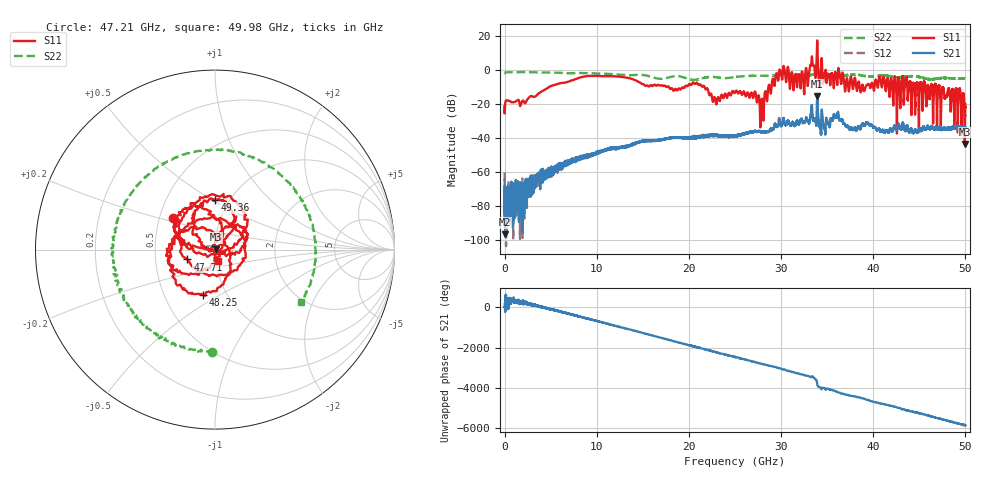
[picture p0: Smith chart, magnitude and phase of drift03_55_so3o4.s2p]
!Created with skrf (http://scikit-rf.org).
# Hz S RI R 50.0
!freq ReS11 ImS11 ReS21 ImS21 ReS12 ImS12 ReS22 ImS22
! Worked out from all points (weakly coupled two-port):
!   10001 points, 300 kHz to 50 GHz, reference 50 ohm
!   highest |S21| = -15.64 dB at 33.92 GHz (marker M1); lowest = -96.6 dB at 60.3 MHz (marker M2)
!   lowest |S11| = -43.5 dB at 49.94 GHz (marker M3), VSWR 1.01, Z = 50.6 + j0.21 ohm
!   |S11| at or under -10 dB: start of sweep to 4.85 GHz; 21.69 GHz to 28.62 GHz (6.933 GHz wide, 27.6 % of centre); 47.19 GHz to end of sweep (the widest 3 of 42)
!   |S22| runs from -5.9 to -1.3 dB; largest |S21 - S12| = 0.017
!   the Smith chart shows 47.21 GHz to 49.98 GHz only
!   S11 on the Smith chart (normalised r, x): 47.21 GHz: 0.59, +0.23; 47.71 GHz: 0.73, -0.08; 48.25 GHz: 0.77, -0.42; 49.36 GHz: 0.86, +0.52; 49.98 GHz: 1.03, -0.13
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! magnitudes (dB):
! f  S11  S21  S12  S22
! 300 kHz  -21.4  -64.7  -60.2  -2.0
! 60.3 MHz  -20.0  -96.6  -78.6  -1.6
! 1.94 GHz  -18.3  -68.9  -74.3  -1.3
! 8.335 GHz  -4.3  -51.7  -51.8  -1.9
! 16.67 GHz  -8.8  -41.2  -41.3  -5.2
! 21.01 GHz  -8.7  -39.2  -39.2  -5.5
! 22.81 GHz  -16.2  -38.3  -38.4  -4.2
! 25 GHz  -13.4  -38.7  -38.7  -4.3
! 27.92 GHz  -17.2  -36.2  -36.4  -3.5
! 29.69 GHz  -6.4  -32.0  -31.6  -3.1
! 32.32 GHz  -1.5  -30.4  -30.7  -3.2
! 33.34 GHz  7.8  -20.7  -20.9  -2.9
! 33.92 GHz  17.2  -15.6  -15.9  -2.4
! 38.82 GHz  -9.0  -31.5  -31.9  -3.4
! 41.67 GHz  -9.0  -36.6  -36.6  -3.6
! 47.21 GHz  -10.6  -33.7  -34.1  -4.9
! 47.71 GHz  -15.8  -34.4  -34.2  -4.8
! 48.25 GHz  -11.7  -34.4  -34.4  -5.0
! 49.36 GHz  -11.1  -33.9  -34.1  -5.1
! 49.94 GHz  -43.5  -33.8  -34.0  -5.0
! 49.98 GHz  -23.8  -34.0  -34.1  -5.0
! 50 GHz  -20.4  -34.1  -34.2  -5.0
